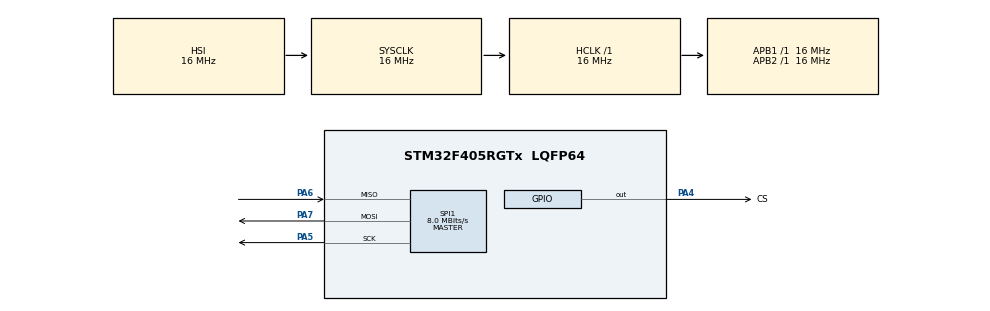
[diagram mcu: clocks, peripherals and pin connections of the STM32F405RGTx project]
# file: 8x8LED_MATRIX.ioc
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Mcu.Family=STM32F4
Mcu.Name=STM32F405RGTx
Mcu.Package=LQFP64
NVIC.PriorityGroup=NVIC_PRIORITYGROUP_4
PA13.Mode=Serial_Wire
PA13.Signal=SYS_JTMS-SWDIO
PA14.Mode=Serial_Wire
PA14.Signal=SYS_JTCK-SWCLK
PA4.GPIO_Label=CS
PA4.Signal=GPIO_Output
PA5.Mode=Full_Duplex_Master
PA5.Signal=SPI1_SCK
PA6.Mode=Full_Duplex_Master
PA6.Signal=SPI1_MISO
PA7.Mode=Full_Duplex_Master
PA7.Signal=SPI1_MOSI
PC14-OSC32_IN.Mode=LSE-External-Oscillator
PC14-OSC32_IN.Signal=RCC_OSC32_IN
PC15-OSC32_OUT.Mode=LSE-External-Oscillator
PC15-OSC32_OUT.Signal=RCC_OSC32_OUT
PH0-OSC_IN.Mode=HSE-External-Oscillator
PH0-OSC_IN.Signal=RCC_OSC_IN
PH1-OSC_OUT.Mode=HSE-External-Oscillator
PH1-OSC_OUT.Signal=RCC_OSC_OUT
ProjectManager.HeapSize=0x200
ProjectManager.StackSize=0x400
ProjectManager.TargetToolchain=STM32CubeIDE
RCC.AHBFreq_Value=16000000
RCC.APB1Freq_Value=16000000
RCC.APB2Freq_Value=16000000
RCC.CortexFreq_Value=16000000
RCC.HSE_VALUE=25000000
RCC.HSI_VALUE=16000000
RCC.SYSCLKFreq_VALUE=16000000
RCC.VCOOutputFreq_Value=192000000
SPI1.CalculateBaudRate=8.0 MBits/s
SPI1.Direction=SPI_DIRECTION_2LINES
SPI1.Mode=SPI_MODE_MASTER
SPI1.VirtualType=VM_MASTER
board=custom

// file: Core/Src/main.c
/* USER CODE BEGIN Header */
/**
  ******************************************************************************
  * @file           : main.c
  * @brief          : Main program body
  ******************************************************************************
  * @attention
  *
  * Copyright (c) 2025 STMicroelectronics.
  * All rights reserved.
  *
  * This software is licensed under terms that can be found in the LICENSE file
  * in the root directory of this software component.
  * If no LICENSE file comes with this software, it is provided AS-IS.
  *
  ******************************************************************************
  */
/* USER CODE END Header */
#include "main.h"
//#include "spi.h"
//#include "gpio.h"

SPI_HandleTypeDef hspi1;

void SystemClock_Config(void);
static void MX_GPIO_Init(void);
static void MX_SPI1_Init(void);

/* USER CODE BEGIN 0 */
uint8_t segment_hex[10] = {
    0x7E, // 0
    0x0b00001111, // 1
    0x0b11110000, // 2
    0x0b00001111, // 3
    0x0b11110000, // 4
    0x0b00001111, // 5
    0x0b11110000, // 6
    0x0b00001111, // 7
    0x0b11110000, // 8
    0x0b00001111  // 9
};
void MAX7219_Send(uint8_t address, uint8_t data)
{
    uint8_t buf[2] = {address, data};

    HAL_GPIO_WritePin(MAX7219_CS_GPIO_Port, MAX7219_CS_Pin, GPIO_PIN_RESET); // CS LOW
    HAL_SPI_Transmit(&hspi1, buf, 2, HAL_MAX_DELAY); // Send data
    HAL_GPIO_WritePin(MAX7219_CS_GPIO_Port, MAX7219_CS_Pin, GPIO_PIN_SET);   // CS HIGH
}
void MAX7219_Init(void)
{
    MAX7219_Send(0x09, 0x00); // No decode mode
    MAX7219_Send(0x0A, 0x03); // Brightness (0x00 to 0x0F)
    MAX7219_Send(0x0B, 0x07); // Scan limit = 8 digits
    MAX7219_Send(0x0C, 0x01); // Exit shutdown mode
    MAX7219_Send(0x0F, 0x00); // Display test OFF
}
/* USER CODE END 0 */

int main(void)
{

  /* MCU Configuration--------------------------------------------------------*/

  /* Reset of all peripherals, Initializes the Flash interface and the Systick. */
   HAL_Init();

  /* Configure the system clock */
  SystemClock_Config();

  /* Initialize all configured peripherals */
  MX_GPIO_Init();
  MX_SPI1_Init();
  MAX7219_Init();

  /* USER CODE BEGIN 2 */
  MAX7219_Send(1, segment_hex[1]);
  MAX7219_Send(2, segment_hex[2]);
  MAX7219_Send(3, segment_hex[3]);
  MAX7219_Send(4, segment_hex[4]);
  /* USER CODE END 2 */

  /* Infinite loop */
  while (1)
  {
	  for (uint8_t i = 0; i < 10; i++) {
	              MAX7219_Send(1, segment_hex[i]);
	              HAL_Delay(500);
	          }
  }
}

void SystemClock_Config(void)
{
  RCC_OscInitTypeDef RCC_OscInitStruct = {0};
  RCC_ClkInitTypeDef RCC_ClkInitStruct = {0};

  /** Configure the main internal regulator output voltage
  */
  __HAL_RCC_PWR_CLK_ENABLE();
  __HAL_PWR_VOLTAGESCALING_CONFIG(PWR_REGULATOR_VOLTAGE_SCALE1);

  /** Initializes the RCC Oscillators according to the specified parameters
  * in the RCC_OscInitTypeDef structure.
  */
  RCC_OscInitStruct.OscillatorType = RCC_OSCILLATORTYPE_HSI;
  RCC_OscInitStruct.HSIState = RCC_HSI_ON;
  RCC_OscInitStruct.HSICalibrationValue = RCC_HSICALIBRATION_DEFAULT;
  RCC_OscInitStruct.PLL.PLLState = RCC_PLL_NONE;
  if (HAL_RCC_OscConfig(&RCC_OscInitStruct) != HAL_OK)
  {
    Error_Handler();
  }

  /** Initializes the CPU, AHB and APB buses clocks
  */
  RCC_ClkInitStruct.ClockType = RCC_CLOCKTYPE_HCLK|RCC_CLOCKTYPE_SYSCLK
                              |RCC_CLOCKTYPE_PCLK1|RCC_CLOCKTYPE_PCLK2;
  RCC_ClkInitStruct.SYSCLKSource = RCC_SYSCLKSOURCE_HSI;
  RCC_ClkInitStruct.AHBCLKDivider = RCC_SYSCLK_DIV1;
  RCC_ClkInitStruct.APB1CLKDivider = RCC_HCLK_DIV1;
  RCC_ClkInitStruct.APB2CLKDivider = RCC_HCLK_DIV1;

  if (HAL_RCC_ClockConfig(&RCC_ClkInitStruct, FLASH_LATENCY_0) != HAL_OK)
  {
    Error_Handler();
  }
}

static void MX_SPI1_Init(void)
{

  /* SPI1 parameter configuration*/
  hspi1.Instance = SPI1;
  hspi1.Init.Mode = SPI_MODE_MASTER;
  hspi1.Init.Direction = SPI_DIRECTION_2LINES;
  hspi1.Init.DataSize = SPI_DATASIZE_8BIT;
  hspi1.Init.CLKPolarity = SPI_POLARITY_LOW;
  hspi1.Init.CLKPhase = SPI_PHASE_1EDGE;
  hspi1.Init.NSS = SPI_NSS_SOFT;
  hspi1.Init.BaudRatePrescaler = SPI_BAUDRATEPRESCALER_2;
  hspi1.Init.FirstBit = SPI_FIRSTBIT_MSB;
  hspi1.Init.TIMode = SPI_TIMODE_DISABLE;
  hspi1.Init.CRCCalculation = SPI_CRCCALCULATION_DISABLE;
  hspi1.Init.CRCPolynomial = 10;
  if (HAL_SPI_Init(&hspi1) != HAL_OK)
  {
    Error_Handler();
  }

}

static void MX_GPIO_Init(void)
{
  GPIO_InitTypeDef GPIO_InitStruct = {0};

  /* GPIO Ports Clock Enable */
  __HAL_RCC_GPIOC_CLK_ENABLE();
  __HAL_RCC_GPIOH_CLK_ENABLE();
  __HAL_RCC_GPIOA_CLK_ENABLE();

  /*Configure GPIO pin Output Level */
  HAL_GPIO_WritePin(CS_GPIO_Port, CS_Pin, GPIO_PIN_RESET);

  /*Configure GPIO pin : CS_Pin */
  GPIO_InitStruct.Pin = CS_Pin;
  GPIO_InitStruct.Mode = GPIO_MODE_OUTPUT_PP;
  GPIO_InitStruct.Pull = GPIO_NOPULL;
  GPIO_InitStruct.Speed = GPIO_SPEED_FREQ_LOW;
  HAL_GPIO_Init(CS_GPIO_Port, &GPIO_InitStruct);

}

void Error_Handler(void)
{
  __disable_irq();
  while (1)
  {
  }
}
